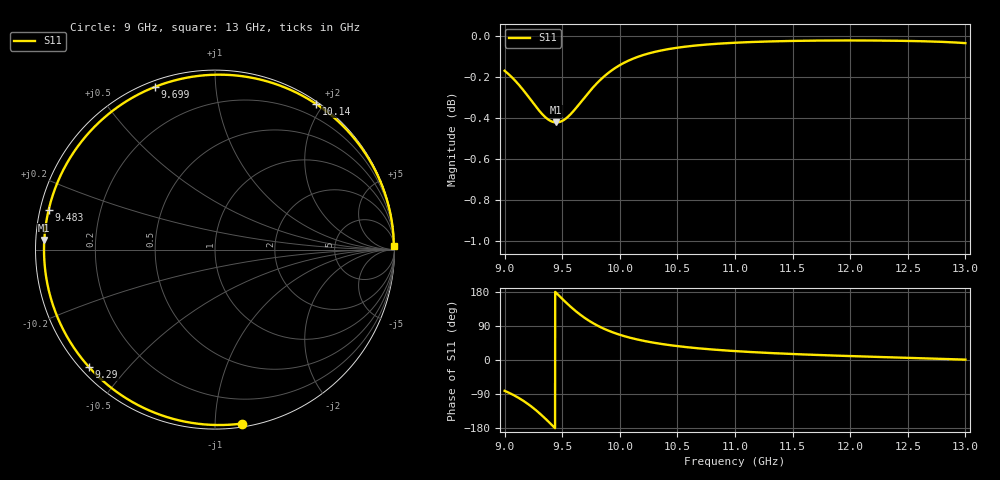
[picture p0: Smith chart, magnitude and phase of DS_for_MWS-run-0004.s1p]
! TOUCHSTONE file generated by CST DESIGN STUDIO
! Date and time: Tue Feb  4 17:03:16 2025
! Project name: C:\Work\MatlabApps\UnitCellOptimizationMatlab\CST\unitcell.cst
! Tree item: Tasks\Sweep1\SPara1\S-Parameters
! Header version: 2024
! Port assignment regex: !\s*Touchstone port\s*([0-9]+)\s*=\s*(CST MWS port|CST DES external port|CST DES block port)\s*(.+)\s* \(\"(.*)\"\)(\s*mode\s*([0-9]+))?.*
! Touchstone port assignment:
! Touchstone port 1 = CST DES external port 1 ("")
# GHz S MA R 50
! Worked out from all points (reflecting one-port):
!   4001 points, 9 GHz to 13 GHz, reference 50 ohm
!   lowest |S11| = -0.4 dB at 9.449 GHz (marker M1), VSWR 41.21, Z = 1.21 + j1.42 ohm
!   phase of S11 starts at -81 deg and turns -278 deg over the sweep
!   S11 on the Smith chart (normalised r, x): 9 GHz: 0.02, -1.16; 9.29 GHz: 0.02, -0.39; 9.483 GHz: 0.02, +0.12; 9.699 GHz: 0.03, +0.70; 10.14 GHz: 0.03, +1.91; 13 GHz: open
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9  0.9806 -81.3
9.09  0.9753 -94.5
9.162  0.97 -107.6
9.228  0.9647 -121.8
9.29  0.9597 -137.1
9.331  0.9568 -148.3
9.375  0.9543 -161.0
9.412  0.9531 -172.0
9.449  0.9526 176.7
9.483  0.953 166.5
9.5  0.9534 161.4
9.552  0.9558 146.4
9.6  0.9589 133.4
9.648  0.9625 121.6
9.699  0.9664 110.3
9.757  0.9707 99.1
9.822  0.975 88.3
9.908  0.9798 76.6
10  0.9837 66.6
10.137  0.9878 55.2
10.301  0.9909 45.3
10.5  0.9933 36.7
10.722  0.9949 29.8
11  0.9961 23.5
11.5  0.9971 15.8
12  0.9973 10.3
12.5  0.9971 5.7
13  0.9958 1.0
